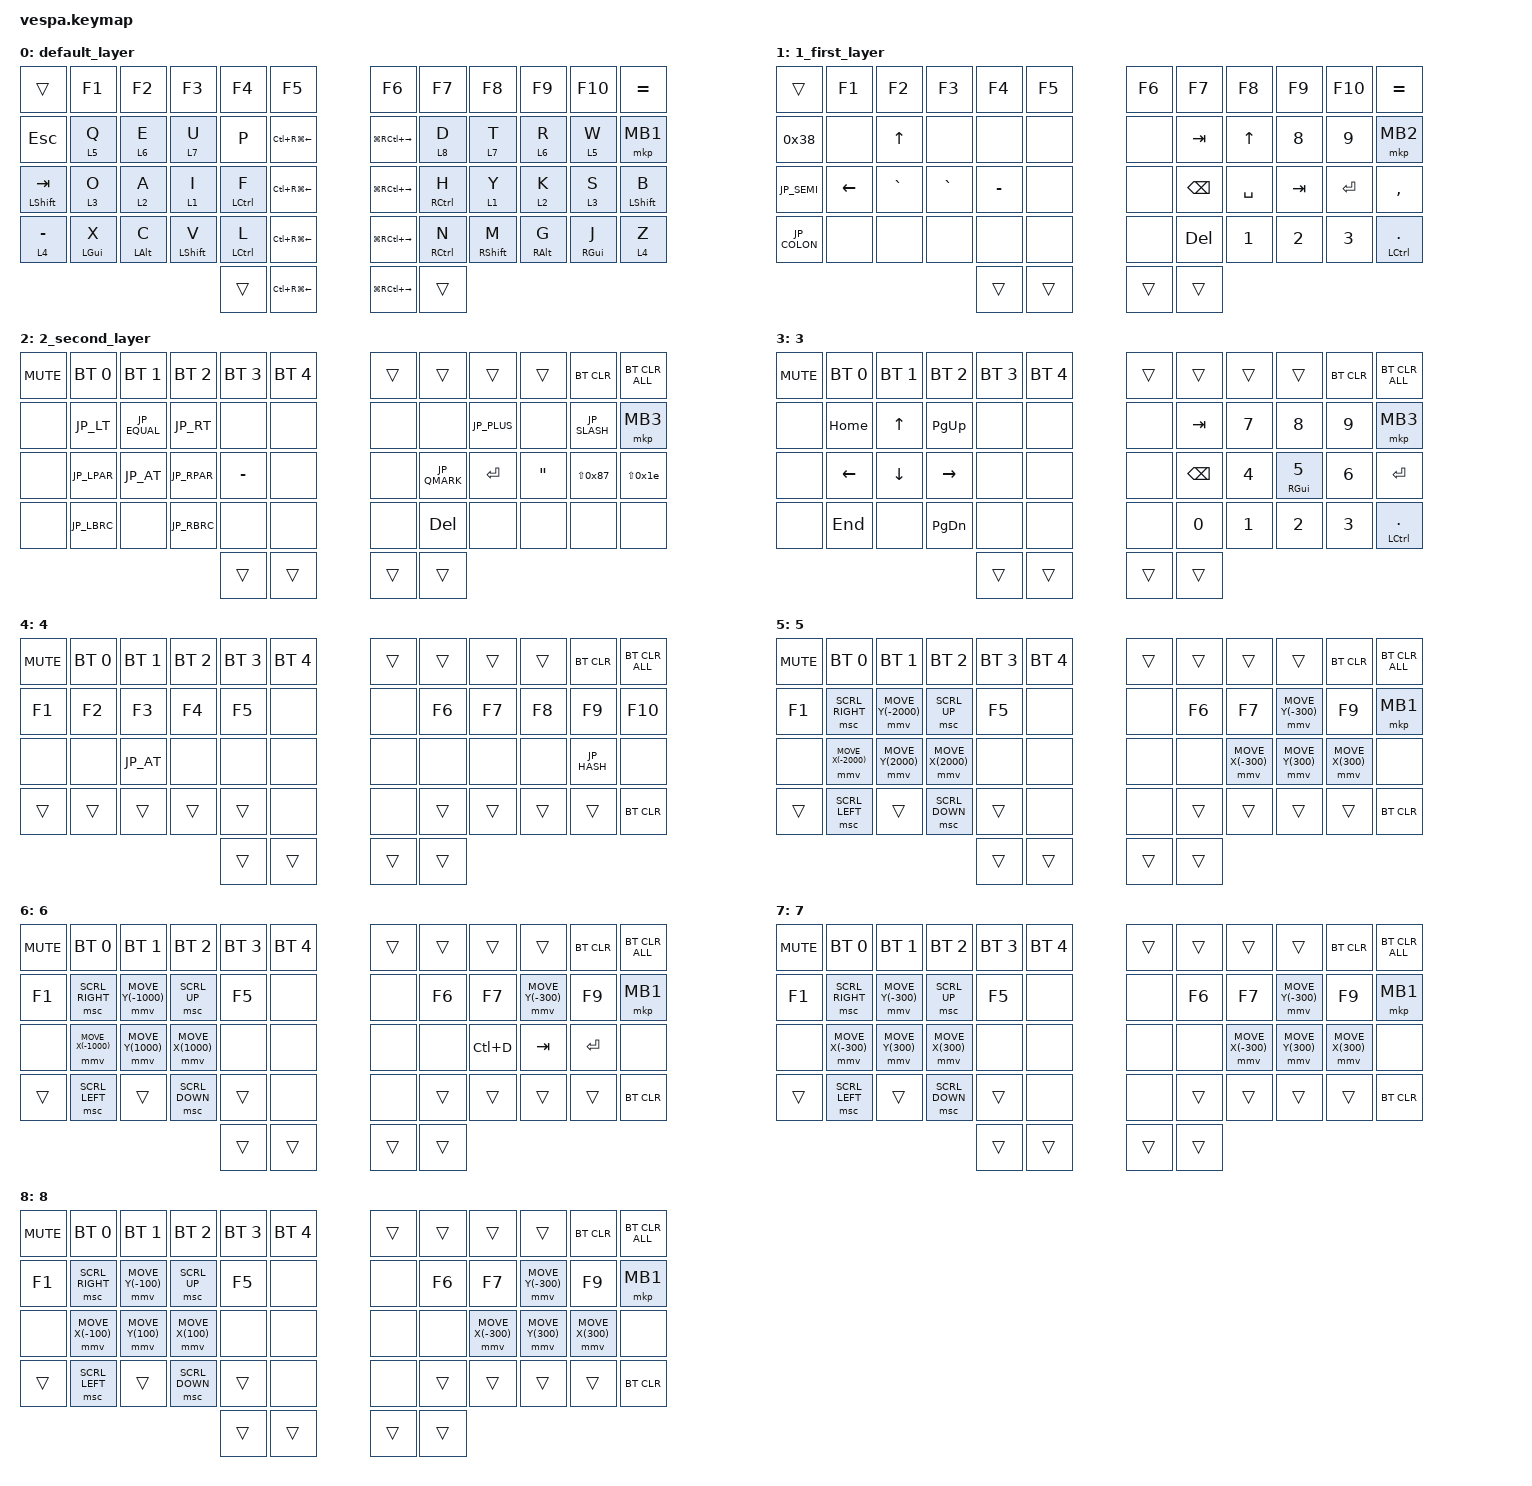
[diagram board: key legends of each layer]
#include <behaviors.dtsi>
#include <dt-bindings/zmk/keys.h>
#include <dt-bindings/zmk/bt.h>
#include <dt-bindings/zmk/outputs.h>
#include <dt-bindings/zmk/pointing.h>
#include "keycode_japanese.h"

#define ZMK_POINTING_DEFAULT_MOVE_VAL 2000 // default: 600
#define ZMK_POINTING_DEFAULT_SCRL_VAL 40    // default: 10

&msc {
    acceleration-exponent = <0>;      // 0
    time-to-max-speed-ms = <0>;       // 300
    delay-ms = <0>;                   // 0
};

&mmv {
    time-to-max-speed-ms = <0>;
    acceleration-exponent = <0>;
    trigger-period-ms = <10>;
    delay-ms = <0>;
};

&mt { 
    flavor = "balanced"; 
    tapping-term-ms = <200>;
    quick-tap-ms = <150>; 
};

&lt {
    flavor = "balanced";
    tapping-term-ms = <200>; 
    quick-tap-ms = <150>; 
};

// 複数キーの同時押しに特別の入力を設定できる
    // キー番号早見表：
    // 0  1  2  3  4  5      6  7  8  9 10 11
    // 12 13 14 15 16 17     18 19 20 21 22 23
    // 24 25 26 27 28 29     30 31 32 33 34 35 
    // 36 37 38 39 40 41     42 43 44 45 46 47
    // 48 49                   50 51




/ {
  behaviors {

tdmup: tap_dance_mouse_up {
            compatible = "zmk,behavior-tap-dance";
            #binding-cells = <0>;
            tapping-term-ms = <150>;
            bindings = <&mmv MOVE_Y(-900)>, <&mmv MOVE_Y(-2000)>;
        };

tdmdn: tap_dance_mouse_down {
            compatible = "zmk,behavior-tap-dance";
            #binding-cells = <0>;
            tapping-term-ms = <150>;
            bindings = <&mmv MOVE_Y(900)>, <&mmv MOVE_Y(2000)>;
        };

tdmlt: tap_dance_mouse_left {
            compatible = "zmk,behavior-tap-dance";
            #binding-cells = <0>;
            tapping-term-ms = <150>;
            bindings = <&mmv MOVE_X(-900)>, <&mmv MOVE_X(-2000)>;
        };

tdmrt: tap_dance_mouse_right {
            compatible = "zmk,behavior-tap-dance";
            #binding-cells = <0>;
            tapping-term-ms = <150>;
            bindings = <&mmv MOVE_X(900)>, <&mmv MOVE_X(2000)>;
        };

    boot_unlock: boot_unlock {
      compatible = "zmk,behavior-hold-tap";
      #binding-cells = <2>;
      flavor = "hold-preferred";
      tapping-term-ms = <3000>;
      bindings = <&bootloader>, <&studio_unlock>;
      display-name = "Boot-unlock";
    };
  };

  combos {
    compatible = "zmk,combos";


 leflu {
            bindings = <&kp GRAVE>;
            key-positions = <13 15>;
            layers = <0>;
            timeout-ms = <200>;
        };

 fopen {
            bindings = <&kp LG(N2)>;
            key-positions = <9 11>;
            layers = <0>;
            timeout-ms = <200>;
        };

 fopen2 {
            bindings = <&kp LG(N2)>;
            key-positions = <19 23>;
            layers = <0>;
            timeout-ms = <200>;
        };

       bootloader {
            bindings = <&bootloader>;
            key-positions = <0 11 48 51>;
            timeout-ms = <200>;
        };


    combo_studio {
      timeout-ms = <50>;
      key-positions = <0 11 36 47>; // ESC + - + LSHIFT + BSPC
      bindings = <&boot_unlock 0 0>;
    };

  mute {
            bindings = <&kp C_MUTE>;
            key-positions = <27 28>;
            layers = <0>;
        };

        vup {
            bindings = <&kp C_VOL_UP>;
            key-positions = <15 16>;
            layers = <0>;
        };

        vdn {
            bindings = <&kp C_VOL_DN>;
            key-positions = <39 40>;
            layers = <0>;
        };

        printscreen {
            bindings = <&kp PSCRN>;
            key-positions = <37 39>;
            layers = <0>;
        };


        space {
            bindings = <&kp SPACE>;
            key-positions = <24 27>;
            layers = <0>;
			timeout-ms = <250>;
        };



  };

  keymap {
    compatible = "zmk,keymap";

    default_layer {
      bindings = <
&trans  &kp F1  &kp F2  &kp F3  &kp F4  &kp F5                                                     &kp F6   &kp F7   &kp F8  &kp F9    &kp F10  &kp EQUAL

&kp ESCAPE          &lt 5 Q        &lt 6 E      &lt 7 U         &kp P   &kp LC(RG(LEFT))                &kp LG(RC(RIGHT))   &lt 8 D        &lt 7 T         &lt 6 R       &lt 5 W       &mkp MB1

&mt LSHIFT TAB      &lt 3 O        &lt 2 A      &lt 1 I         &mt LCTRL F  &kp LC(RG(LEFT))        &kp LG(RC(RIGHT)) &mt RCTRL H  &lt 1 Y         &lt 2 K       &lt 3 S       &mt LEFT_SHIFT B

&lt 4 MINUS    &mt LGUI X   &mt LALT C &mt LSHIFT V  &mt LCTRL L  &kp LC(RG(LEFT))                   &kp LG(RC(RIGHT))   &mt RCTRL N        &mt RSHIFT M  &mt RALT G  &mt RGUI J  &lt 4 Z

&trans  &kp LC(RG(LEFT))                                                                             &kp LG(RC(RIGHT))  &trans
      >;
		};

    1_first_layer {
      bindings = <
&trans  &kp F1  &kp F2  &kp F3  &kp F4  &kp F5  &kp F6   &kp F7   &kp F8  &kp F9    &kp F10  &kp EQUAL
&kp 0x38     &none      &kp UP     &none       &none             &none       &none                      &kp TAB          &kp UP          &kp N8        &kp N9         &mkp MB2
   &kp JP_SEMI  &kp LEFT   &kp GRAVE  &kp GRAVE   &kp MINUS       &none       &none                        &kp BACKSPACE  &kp SPACE       &kp TAB       &kp ENTER      &kp COMMA 
   &kp JP_COLON &none      &none      &none       &none           &none       &none                        &kp DELETE     &kp N1          &kp N2        &kp N3         &mt LCTRL PERIOD
                        &trans  &trans                   &trans   &trans
      >;
    };

  2_second_layer {
      bindings = <
&kp C_MUTE    &bt BT_SEL 0  &bt BT_SEL 1  &bt BT_SEL 2  &bt BT_SEL 3  &bt BT_SEL 4  &trans    &trans   &trans   &trans   &bt BT_CLR  &bt BT_CLR_ALL
&none        &kp JP_LT      &kp JP_EQUAL   &kp JP_RT  &none                 &none    &none                        &none          &kp JP_PLUS     &none        &kp JP_SLASH  &mkp MB3
&none        &kp JP_LPAR    &kp JP_AT      &kp JP_RPAR   &kp MINUS          &none    &none                        &kp JP_QMARK   &kp ENTER  &kp DOUBLE_QUOTES &kp LS(0x87)  &kp LS(0x1e)
&none        &kp JP_LBRC    &none          &kp JP_RBRC   &none              &none    &none                        &kp DELETE          &none           &none         &none         &none

                                          &trans        &trans                                &trans   &trans
      >;
    };


  3 {
      bindings = <
&kp C_MUTE    &bt BT_SEL 0  &bt BT_SEL 1  &bt BT_SEL 2  &bt BT_SEL 3  &bt BT_SEL 4  &trans    &trans   &trans   &trans   &bt BT_CLR  &bt BT_CLR_ALL
&none        &kp HOME   &kp UP     &kp PAGE_UP      &none          &none    &none                        &kp TAB          &kp N7          &kp N8        &kp N9         &mkp MB3
&none        &kp LEFT   &kp DOWN   &kp RIGHT        &none        &none    &none                          &kp BACKSPACE  &kp N4          &mt RGUI N5        &kp N6         &kp ENTER
&none        &kp END    &none      &kp PAGE_DOWN    &none        &none    &none                          &kp N0         &kp N1          &kp N2        &kp N3         &mt LCTRL PERIOD


                                          &trans        &trans                                &trans   &trans
      >;
    };

  4 {
      bindings = <
&kp C_MUTE    &bt BT_SEL 0  &bt BT_SEL 1  &bt BT_SEL 2  &bt BT_SEL 3  &bt BT_SEL 4  &trans    &trans   &trans   &trans   &bt BT_CLR  &bt BT_CLR_ALL
&kp F1  &kp F2  &kp F3  &kp F4  &kp F5        &none    &none           &kp F6  &kp F7  &kp F8  &kp F9  &kp F10
&none   &none   &kp JP_AT   &none   &none     &none    &none               &none   &none   &none   &kp JP_HASH   &none
&trans  &trans  &trans  &trans  &trans         &none    &none                             &trans        &trans        &trans        &trans        &bt BT_CLR


                                          &trans        &trans                                &trans   &trans
      >;
    };


  5 {
      bindings = <
&kp C_MUTE    &bt BT_SEL 0  &bt BT_SEL 1  &bt BT_SEL 2  &bt BT_SEL 3  &bt BT_SEL 4  &trans    &trans   &trans   &trans   &bt BT_CLR  &bt BT_CLR_ALL
&kp F1  &msc SCRL_RIGHT   &mmv MOVE_Y(-2000)     &msc SCRL_UP  &kp F5        &none    &none                      &kp F6  &kp F7  &mmv MOVE_Y(-300)  &kp F9  &mkp MB1

&none      &mmv MOVE_X(-2000) &mmv MOVE_Y(2000)    &mmv MOVE_X(2000)    &none       &none    &none             &none    &mmv MOVE_X(-300) &mmv MOVE_Y(300)    &mmv MOVE_X(300)   &none

&trans  &msc SCRL_LEFT   &trans           &msc SCRL_DOWN  &trans                 &none    &none                     &trans        &trans        &trans        &trans        &bt BT_CLR



                                          &trans        &trans                                &trans   &trans
      >;
    };

  6 {
      bindings = <
&kp C_MUTE    &bt BT_SEL 0  &bt BT_SEL 1  &bt BT_SEL 2  &bt BT_SEL 3  &bt BT_SEL 4  &trans    &trans   &trans   &trans   &bt BT_CLR  &bt BT_CLR_ALL
&kp F1  &msc SCRL_RIGHT  &mmv MOVE_Y(-1000)     &msc SCRL_UP  &kp F5        &none    &none                      &kp F6  &kp F7  &mmv MOVE_Y(-300)  &kp F9  &mkp MB1

&none    &mmv MOVE_X(-1000) &mmv MOVE_Y(1000)    &mmv MOVE_X(1000)   &none       &none    &none             &none   &kp LC(D) &kp TAB  &kp ENTER   &none

&trans  &msc SCRL_LEFT   &trans           &msc SCRL_DOWN  &trans                 &none    &none                     &trans        &trans        &trans        &trans        &bt BT_CLR



                                          &trans        &trans                                &trans   &trans
      >;
    };

  7 {
      bindings = <
&kp C_MUTE    &bt BT_SEL 0  &bt BT_SEL 1  &bt BT_SEL 2  &bt BT_SEL 3  &bt BT_SEL 4  &trans    &trans   &trans   &trans   &bt BT_CLR  &bt BT_CLR_ALL
&kp F1  &msc SCRL_RIGHT  &mmv MOVE_Y(-300)     &msc SCRL_UP  &kp F5        &none    &none                      &kp F6  &kp F7  &mmv MOVE_Y(-300)  &kp F9  &mkp MB1

&none    &mmv MOVE_X(-300) &mmv MOVE_Y(300)    &mmv MOVE_X(300)   &none       &none    &none             &none    &mmv MOVE_X(-300) &mmv MOVE_Y(300)    &mmv MOVE_X(300)   &none

&trans  &msc SCRL_LEFT   &trans           &msc SCRL_DOWN  &trans                 &none    &none                     &trans        &trans        &trans        &trans        &bt BT_CLR



                                          &trans        &trans                                &trans   &trans
      >;
    };


  8 {
      bindings = <
&kp C_MUTE    &bt BT_SEL 0  &bt BT_SEL 1  &bt BT_SEL 2  &bt BT_SEL 3  &bt BT_SEL 4  &trans    &trans   &trans   &trans   &bt BT_CLR  &bt BT_CLR_ALL
&kp F1  &msc SCRL_RIGHT  &mmv MOVE_Y(-100)     &msc SCRL_UP  &kp F5        &none    &none                      &kp F6  &kp F7  &mmv MOVE_Y(-300)  &kp F9  &mkp MB1

&none    &mmv MOVE_X(-100) &mmv MOVE_Y(100)    &mmv MOVE_X(100)   &none       &none    &none             &none    &mmv MOVE_X(-300) &mmv MOVE_Y(300)    &mmv MOVE_X(300)   &none

&trans  &msc SCRL_LEFT   &trans           &msc SCRL_DOWN  &trans                 &none    &none                     &trans        &trans        &trans        &trans        &bt BT_CLR



                                          &trans        &trans                                &trans   &trans
      >;
    };




    extra1 {
      status = "reserved";
    };
    extra2 {
      status = "reserved";
    };
  };
};


